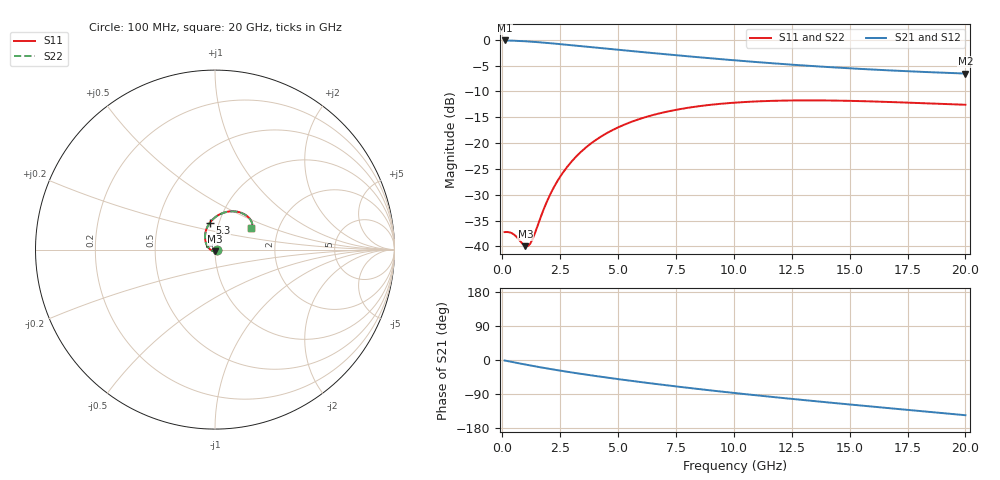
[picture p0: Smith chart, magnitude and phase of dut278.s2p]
! Touchstone file exported from HFSS 2024.1.0
!  File:  C:/UserFiles/LocalFiles/RDL_TSV_Batchsim/temp_RDL_TSV_278_1779463612.aedt
!  Generated:  11:46:12 PM May 22, 2026
!  Design:  RDL_TSV
!  Project:  temp_RDL_TSV_278_1779463612
!  Setup:  Setup1
!  Solution:  Sweep
! Variables:
!  dtsv = 6.6um
!  hbump = 3um
!  htsv = 94.03um
!  ldown = 424.32um
!  lrdl = 117.02um
!  p = 40
!  p1 = 40.04um
!  rhole = 10um
!  subl = 1741.04um
!  t = 450um
!  tdown = 2.25um
!  trdl = 2.63um
!  viad = 10um
!  wdown = 26.95um
!  wrdl = 13.66um
!  xbump = 18um
# GHz S MA R 50.000000
! Terminal data exported
! Port[1] = TM1_1_T1
! Port[2] = TM1_4_T1
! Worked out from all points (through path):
!   200 points, 100 MHz to 20 GHz, reference 50 ohm
!   highest |S21| = -0.12 dB at 100 MHz (marker M1); lowest = -6.5 dB at 20 GHz (marker M2)
!   group delay of S21, straight-line fit = 19.3 ps
!   lowest |S11| = -39.9 dB at 1 GHz (marker M3), VSWR 1.02, Z = 50.2 - j0.994 ohm
!   |S11| at or under -10 dB: start of sweep to end of sweep
!   |S22| runs from -39.9 to -11.7 dB; largest |S21 - S12| = 9.7e-15
!   S11 on the Smith chart (normalised r, x): 100 MHz: 1.03, -0.00; 5.3 GHz: 0.90, +0.28; 20 GHz: 1.45, +0.37
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0.1  0.01377 -3.6  0.9859 -1.3  0.9859 -1.3  0.01377 -3.6
! Gamma 0 0 0 0
! Port Impedance 50 0 50 0
0.3  0.01372 -12.8  0.9837 -3.7  0.9837 -3.7  0.01373 -12.8
0.5  0.01306 -25.6  0.9802 -6.2  0.9802 -6.2  0.01307 -25.6
1  0.01006 -80.1  0.9677 -12.0  0.9677 -12.0  0.01008 -79.9
1.1  0.01006 -95.9  0.9647 -13.2  0.9647 -13.2  0.01008 -95.7
1.2  0.01058 -112.0  0.9614 -14.3  0.9614 -14.3  0.01059 -111.8
1.3  0.01166 -127.1  0.958 -15.4  0.958 -15.4  0.01166 -126.9
1.9  0.02631 179.3  0.9346 -22.0  0.9346 -22.0  0.02625 179.4
2.1  0.03291 169.7  0.9261 -24.0  0.9261 -24.0  0.03283 169.8
2.4  0.04362 158.3  0.9129 -27.1  0.9129 -27.1  0.04351 158.4
2.9  0.06273 143.8  0.8906 -32.0  0.8906 -32.0  0.06257 143.8
3.5  0.08636 130.2  0.864 -37.5  0.864 -37.5  0.08615 130.2
4.3  0.1171 115.7  0.8297 -44.5  0.8297 -44.5  0.1168 115.7
5.3  0.152 101.1  0.7894 -52.9  0.7894 -52.9  0.1516 101.1
6  0.1734 92.5  0.7627 -58.4  0.7627 -58.4  0.1729 92.5
6.8  0.1945 83.9  0.7337 -64.5  0.7337 -64.5  0.194 83.9
8.3  0.2247 70.6  0.6838 -75.4  0.6838 -75.4  0.2242 70.6
10.1  0.247 58.1  0.6315 -87.6  0.6315 -87.6  0.2465 58.1
11.7  0.2568 49.5  0.5921 -97.7  0.5921 -97.7  0.2561 49.5
13.4  0.2593 42.4  0.5571 -108.0  0.5571 -108.0  0.2587 42.4
16.7  0.2503 33.8  0.5061 -127.1  0.5061 -127.1  0.2497 33.8
20  0.2352 31.3  0.4717 -145.7  0.4717 -145.7  0.2347 31.2
